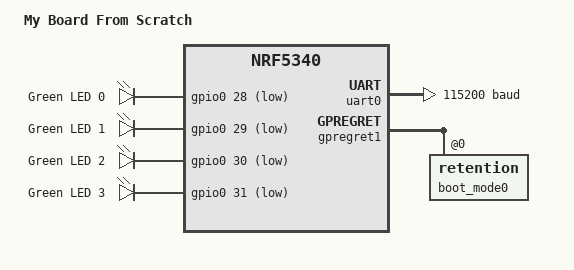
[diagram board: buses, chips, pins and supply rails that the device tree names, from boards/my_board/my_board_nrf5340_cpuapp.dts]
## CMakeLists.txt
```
cmake_minimum_required(VERSION 3.20.0)

list(APPEND BOARD_ROOT ${CMAKE_CURRENT_SOURCE_DIR})
find_package(Zephyr REQUIRED)
project(my_zephyr_app)

target_sources(app PRIVATE src/main.cpp)
add_subdirectory(drivers/our_driver)
```

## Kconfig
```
menuconfig LED_SUBSYSTEM
    bool "LED Subsystem"
    default y
	
if LED_SUBSYSTEM

config APP_HEARTBEAT_PERIOD_MS 
    int "LED period (100-2000 ms)"
    range 100 2000
    default 500

endif # LED_SUBSYSTEM

source "Kconfig.zephyr"
rsource "drivers/our_driver/Kconfig"
```

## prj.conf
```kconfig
CONFIG_GPIO=y
CONFIG_LOG=y
CONFIG_PWM=y
CONFIG_SENSOR=y
CONFIG_SERIAL=y
CONFIG_CONSOLE=y
CONFIG_UART_CONSOLE=y

CONFIG_SHELL=y
```

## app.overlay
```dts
/ {
	our_driver0: our_driver{
		compatible = "our,driver";
		status = "okay";
	};
};
```

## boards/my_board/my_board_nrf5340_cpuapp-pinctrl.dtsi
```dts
&pinctrl {
	uart0_default: uart0_default {
		group1 {
			psels = <NRF_PSEL(UART_TX, 0, 20)>,
				<NRF_PSEL(UART_RTS, 0, 19)>;
		};

		group2 {
			psels = <NRF_PSEL(UART_RX, 0, 22)>,
				<NRF_PSEL(UART_CTS, 0, 21)>;
			bias-pull-up;
		};
	};

	uart0_sleep: uart0_sleep {
		group1 {
			psels = <NRF_PSEL(UART_RX, 0, 22)>,
				<NRF_PSEL(UART_RTS, 0, 19)>,
				<NRF_PSEL(UART_CTS, 0, 21)>,
				<NRF_PSEL(UART_TX, 0, 20)>;
			low-power-enable;
		};
	};
};
```

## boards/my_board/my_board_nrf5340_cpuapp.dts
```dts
/dts-v1/;
#include <nordic/nrf5340_cpuapp_qkaa.dtsi>
#include <nordic/nrf5340_cpuapp_partition.dtsi>
#include "my_board_nrf5340_cpuapp-pinctrl.dtsi"

/ {
	model = "My Board From Scratch";
	compatible = "albano,my_board";

	aliases {
		led0 = &led0;
		led1 = &led1;
		led2 = &led2;
		led3 = &led3;
	};

	chosen {
		zephyr,sram = &sram0_image;
		zephyr,flash = &flash0;
		zephyr,code-partition = &slot0_partition;
		zephyr,sram-secure-partition = &sram0_s;
		zephyr,sram-non-secure-partition = &sram0_ns;
		zephyr,boot-mode = &boot_mode0;
		zephyr,console = &uart0;
		zephyr,shell-uart = &uart0;
	};

	leds {
		compatible = "gpio-leds";

		led0: led_0 {
			gpios = <&gpio0 28 GPIO_ACTIVE_LOW>;
			label = "Green LED 0";
		};

		led1: led_1 {
			gpios = <&gpio0 29 GPIO_ACTIVE_LOW>;
			label = "Green LED 1";
		};

		led2: led_2 {
			gpios = <&gpio0 30 GPIO_ACTIVE_LOW>;
			label = "Green LED 2";
		};

		led3: led_3 {
			gpios = <&gpio0 31 GPIO_ACTIVE_LOW>;
			label = "Green LED 3";
		};
	};
};

&gpio0 {
	status = "okay";
};

&gpiote {
	status = "okay";
};

&uart0 {
	status = "okay";
	current-speed = <115200>;
	pinctrl-0 = <&uart0_default>;
	pinctrl-1 = <&uart0_sleep>;
	pinctrl-names = "default", "sleep";
};

&gpregret1 {
	status = "okay";

	boot_mode0: boot_mode@0 {
		compatible = "zephyr,retention";
		status = "okay";
		reg = <0x0 0x1>;
	};
};
```

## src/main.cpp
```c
#include <zephyr/drivers/sensor.h>
#include <zephyr/kernel.h>
#include <zephyr/logging/log.h>
#include "our_driver.h"

LOG_MODULE_REGISTER(main, LOG_LEVEL_INF);

int main(void)
{
    const struct device *dev = DEVICE_DT_GET(DT_NODELABEL(our_driver0));
    struct sensor_value val;
    bool led_state = true;

    while (1) {
        // if (led_state) {
        //     sensor_channel_get(dev, SENSOR_CHAN_GREEN, &val);
        // } else {
        //     sensor_sample_fetch(dev);
        // }

        // our_driver_counter_increment(dev);

        // led_state = !led_state;
        k_msleep(CONFIG_APP_HEARTBEAT_PERIOD_MS );
    }
    return 0;
}
```
